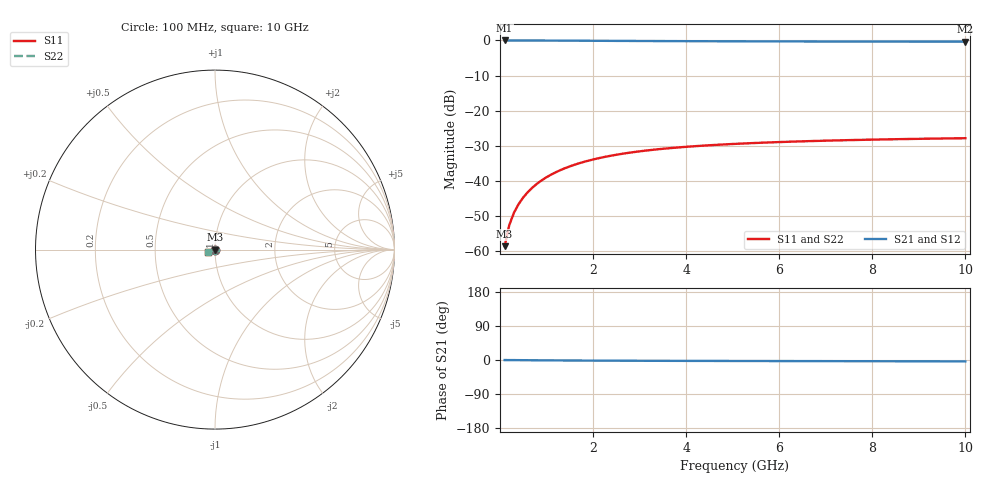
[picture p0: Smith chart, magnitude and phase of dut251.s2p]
! Touchstone file exported from HFSS 2024.1.0
!  File:  C:/UserFiles/LocalFiles/RDL_TSV_Batchsim/temp_TSV1_251_1779390573.aedt
!  Generated:  03:15:44 AM May 22, 2026
!  Design:  TSV1
!  Project:  temp_TSV1_251_1779390573
!  Setup:  Setup1
!  Solution:  Sweep
! Variables:
!  dtsv = 14.25um
!  hbump = 3um
!  htsv = 52.26um
!  lrdl = 252.1521522um
!  p = 40
!  p1 = 49.35um
!  t = 500um
!  trdl = 3um
!  wrdl = 24.89489489um
# GHz S MA R 50.000000
! Terminal data exported
! Port[1] = TSV22_T1
! Port[2] = TSV22_T2
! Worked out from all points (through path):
!   100 points, 100 MHz to 10 GHz, reference 50 ohm
!   highest |S21| = 0.00 dB at 100 MHz (marker M1); lowest = -0.3 dB at 10 GHz (marker M2)
!   lowest |S11| = -58.6 dB at 100 MHz (marker M3), VSWR 1.00, Z = 50 - j0.117 ohm
!   |S11| at or under -10 dB: start of sweep to end of sweep
!   |S22| runs from -58.6 to -27.9 dB; largest |S21 - S12| = 5.2e-15
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0.1  0.001168 -88.4  0.9999 -0.1  0.9999 -0.1  0.001168 -88.4
! Gamma 0 0 0 0
! Port Impedance 50 0 50 0
0.2  0.002332 -91.9  0.9998 -0.2  0.9998 -0.2  0.002332 -91.9
0.3  0.003491 -94.2  0.9996 -0.3  0.9996 -0.3  0.003491 -94.2
0.4  0.004643 -96.2  0.9993 -0.4  0.9993 -0.4  0.004643 -96.2
0.5  0.005784 -98.0  0.999 -0.5  0.999 -0.5  0.005784 -98.0
0.6  0.006911 -99.8  0.9986 -0.6  0.9986 -0.6  0.006911 -99.8
0.7  0.00802 -101.5  0.9982 -0.7  0.9982 -0.7  0.00802 -101.5
0.8  0.00911 -103.2  0.9977 -0.8  0.9977 -0.8  0.00911 -103.2
0.9  0.01018 -104.9  0.9972 -0.8  0.9972 -0.8  0.01018 -104.9
1.1  0.01224 -108.0  0.9959 -1.0  0.9959 -1.0  0.01224 -108.0
1.4  0.01512 -112.5  0.9939 -1.2  0.9939 -1.2  0.01512 -112.5
1.6  0.0169 -115.3  0.9925 -1.4  0.9925 -1.4  0.0169 -115.3
1.8  0.01856 -117.9  0.991 -1.5  0.991 -1.5  0.01856 -117.9
2.1  0.02083 -121.7  0.9888 -1.6  0.9888 -1.6  0.02083 -121.7
2.5  0.02348 -126.1  0.986 -1.8  0.986 -1.8  0.02348 -126.1
2.9  0.02574 -130.1  0.9833 -2.0  0.9833 -2.0  0.02574 -130.1
3.4  0.02813 -134.4  0.9802 -2.2  0.9802 -2.2  0.02813 -134.4
4.2  0.03113 -140.2  0.976 -2.4  0.976 -2.4  0.03113 -140.2
5.1  0.03367 -145.4  0.9721 -2.6  0.9721 -2.6  0.03367 -145.4
6.7  0.03681 -152.4  0.967 -3.0  0.967 -3.0  0.03681 -152.4
8.4  0.039 -158.1  0.9634 -3.3  0.9634 -3.3  0.039 -158.1
10  0.04042 -162.3  0.961 -3.6  0.961 -3.6  0.04042 -162.3
